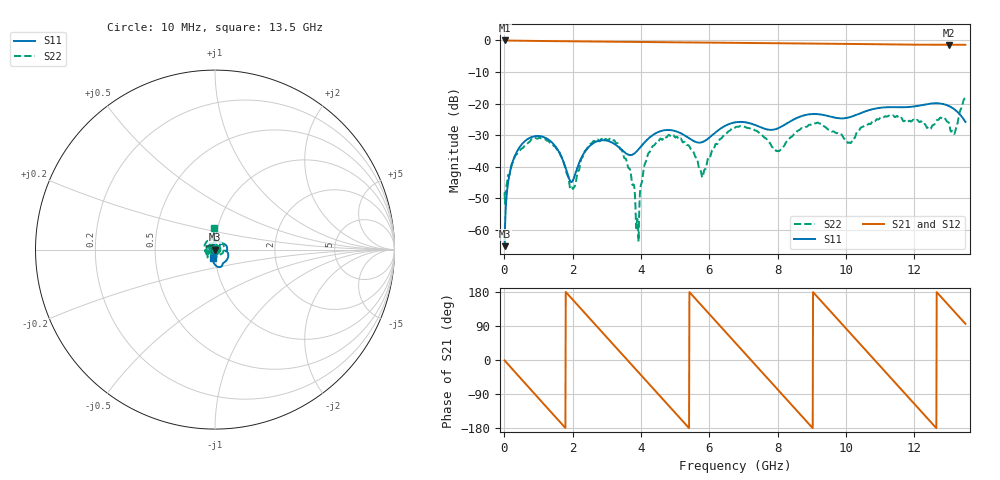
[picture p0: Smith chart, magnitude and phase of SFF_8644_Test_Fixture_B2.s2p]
!Keysight Technologies,N5231B,MY57181281,A.17.25.05
!Automatic Fixture Removal (AFR)
!Date: Friday, March 07, 2025, 04:12:55
!S2P File: Measurements: S11,S21,S12,S22:
# MHz S  RI  R 50
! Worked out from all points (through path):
!   1350 points, 10 MHz to 13.5 GHz, reference 50 ohm
!   highest |S21| = -0.01 dB at 10 MHz (marker M1); lowest = -1.4 dB at 13.02 GHz (marker M2)
!   group delay of S21, straight-line fit = 276 ps
!   lowest |S11| = -65.2 dB at 10 MHz (marker M3), VSWR 1.00, Z = 50 - j0.0526 ohm
!   |S11| at or under -10 dB: start of sweep to end of sweep
!   |S22| runs from -63.7 to -18.2 dB; largest |S21 - S12| = 1.5e-15
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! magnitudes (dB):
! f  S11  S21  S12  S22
! 10 MHz  -65.2  0.0  0.0  -48.1
! 180 MHz  -41.0  -0.1  -0.1  -41.1
! 590 MHz  -32.0  -0.1  -0.1  -33.4
! 1.44 GHz  -32.8  -0.2  -0.2  -33.3
! 1.98 GHz  -44.8  -0.3  -0.3  -46.6
! 2.26 GHz  -37.1  -0.3  -0.3  -37.4
! 2.6 GHz  -32.6  -0.3  -0.3  -32.0
! 3.29 GHz  -33.3  -0.4  -0.4  -32.5
! 3.66 GHz  -36.3  -0.5  -0.5  -40.5
! 3.9 GHz  -34.9  -0.5  -0.5  -56.6
! 4.13 GHz  -32.0  -0.5  -0.5  -38.8
! 4.51 GHz  -29.0  -0.6  -0.6  -32.1
! 5.21 GHz  -29.6  -0.6  -0.6  -32.0
! 5.8 GHz  -32.2  -0.7  -0.7  -43.4
! 6.76 GHz  -25.9  -0.8  -0.8  -27.6
! 8.01 GHz  -27.8  -0.9  -0.9  -35.0
! 9.01 GHz  -23.3  -1.0  -1.0  -26.5
! 10.1 GHz  -24.4  -1.1  -1.1  -32.3
! 11.26 GHz  -21.1  -1.3  -1.3  -23.8
! 13.02 GHz  -20.8  -1.4  -1.4  -26.3
! 13.2 GHz  -22.0  -1.4  -1.4  -28.8
! 13.5 GHz  -25.8  -1.4  -1.4  -18.2
